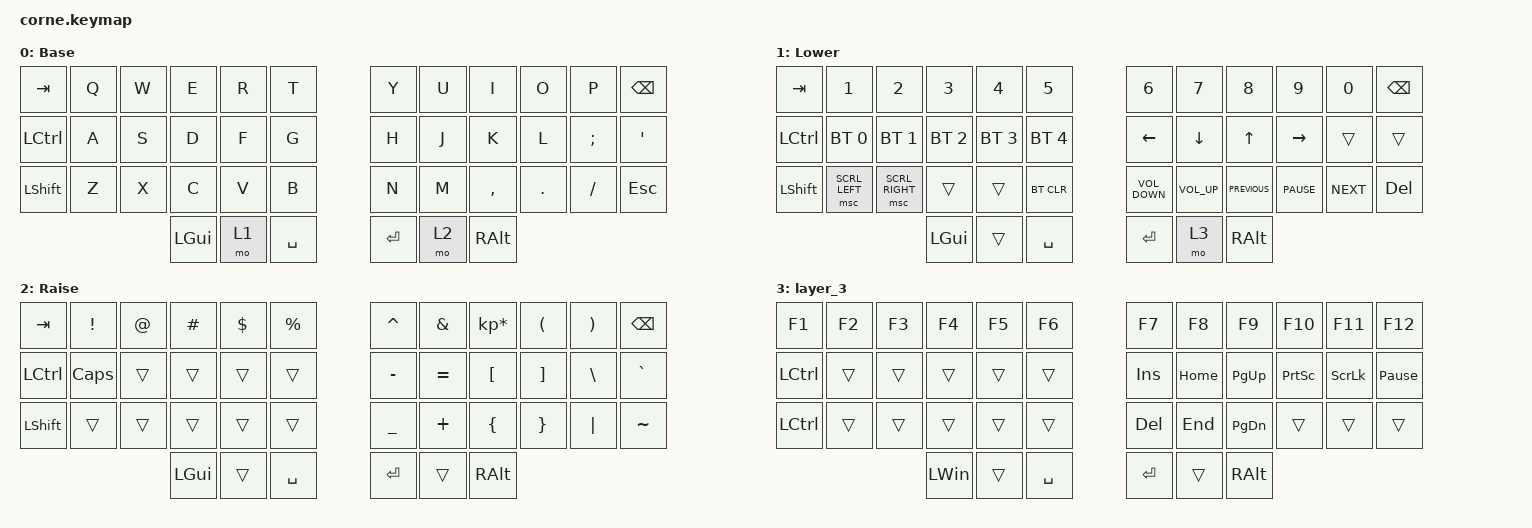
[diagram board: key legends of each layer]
/*
 * Copyright (c) 2020 The ZMK Contributors
 *
 * SPDX-License-Identifier: MIT
 */

#include <behaviors.dtsi>
#include <dt-bindings/zmk/bt.h>
#include <dt-bindings/zmk/keys.h>
#include <dt-bindings/zmk/pointing.h>

/ {
    keymap {
        compatible = "zmk,keymap";

        default_layer {
            // -----------------------------------------------------------------------------------------
            // |  TAB |  Q  |  W  |  E  |  R  |  T  |   |  Y  |  U   |  I  |  O  |  P  | BKSP |
            // | CTRL |  A  |  S  |  D  |  F  |  G  |   |  H  |  J   |  K  |  L  |  ;  |  '   |
            // | SHFT |  Z  |  X  |  C  |  V  |  B  |   |  N  |  M   |  ,  |  .  |  /  | ESC  |
            //                    | GUI | LWR | SPC |   | ENT | RSE  | ALT |

            display-name = "Base";
            bindings = <
&kp TAB    &kp Q  &kp W  &kp E     &kp R  &kp T        &kp Y    &kp U  &kp I      &kp O    &kp P     &kp BSPC
&kp LCTRL  &kp A  &kp S  &kp D     &kp F  &kp G        &kp H    &kp J  &kp K      &kp L    &kp SEMI  &kp SQT
&kp LSHFT  &kp Z  &kp X  &kp C     &kp V  &kp B        &kp N    &kp M  &kp COMMA  &kp DOT  &kp FSLH  &kp ESC
                         &kp LGUI  &mo 1  &kp SPACE    &kp RET  &mo 2  &kp RALT
            >;
        };

        lower_layer {
            // -----------------------------------------------------------------------------------------
            // |  TAB |  1  |  2  |  3  |  4  |  5  |   |  6  |  7  |  8  |  9  |  0  | BKSP |
            // | BTCLR| BT1 | BT2 | BT3 | BT4 | BT5 |   | LFT | DWN |  UP | RGT |     |      |
            // | SHFT |     |     |     |     |     |   |     |     |     |     |     |      |
            //                    | GUI |     | SPC |   | ENT |     | ALT |

            display-name = "Lower";
            bindings = <
&kp TAB    &kp N1          &kp N2           &kp N3        &kp N4        &kp N5          &kp N6             &kp N7           &kp N8          &kp N9       &kp N0      &kp BSPC
&kp LCTRL  &bt BT_SEL 0    &bt BT_SEL 1     &bt BT_SEL 2  &bt BT_SEL 3  &bt BT_SEL 4    &kp LEFT           &kp DOWN         &kp UP          &kp RIGHT    &trans      &trans
&kp LSHFT  &msc SCRL_LEFT  &msc SCRL_RIGHT  &trans        &trans        &bt BT_CLR      &kp C_VOLUME_DOWN  &kp C_VOLUME_UP  &kp C_PREVIOUS  &kp C_PAUSE  &kp C_NEXT  &kp DELETE
                                            &kp LGUI      &trans        &kp SPACE       &kp RET            &mo 3            &kp RALT
            >;
        };

        raise_layer {
            // -----------------------------------------------------------------------------------------
            // |  TAB |  !  |  @  |  #  |  $  |  %  |   |  ^  |  &  |  *  |  (  |  )  | BKSP |
            // | CTRL |     |     |     |     |     |   |  -  |  =  |  [  |  ]  |  \  |  `   |
            // | SHFT |     |     |     |     |     |   |  _  |  +  |  {  |  }  | "|" |  ~   |
            //                    | GUI |     | SPC |   | ENT |     | ALT |

            display-name = "Raise";
            bindings = <
&kp TAB    &kp EXCL  &kp AT  &kp HASH  &kp DLLR  &kp PRCNT    &kp CARET  &kp AMPS   &kp KP_MULTIPLY  &kp LPAR  &kp RPAR  &kp BSPC
&kp LCTRL  &kp CAPS  &trans  &trans    &trans    &trans       &kp MINUS  &kp EQUAL  &kp LBKT         &kp RBKT  &kp BSLH  &kp GRAVE
&kp LSHFT  &trans    &trans  &trans    &trans    &trans       &kp UNDER  &kp PLUS   &kp LBRC         &kp RBRC  &kp PIPE  &kp TILDE
                             &kp LGUI  &trans    &kp SPACE    &kp RET    &trans     &kp RALT
            >;
        };

        layer_3 {
            bindings = <
&kp F1     &kp F2  &kp F3  &kp F4        &kp F5  &kp F6       &kp F7      &kp F8    &kp F9         &kp F10          &kp F11         &kp F12
&kp LCTRL  &trans  &trans  &trans        &trans  &trans       &kp INSERT  &kp HOME  &kp PAGE_UP    &kp PRINTSCREEN  &kp SCROLLLOCK  &kp PAUSE_BREAK
&kp LCTRL  &trans  &trans  &trans        &trans  &trans       &kp DEL     &kp END   &kp PAGE_DOWN  &trans           &trans          &trans
                           &kp LEFT_WIN  &trans  &kp SPACE    &kp ENTER   &trans    &kp RIGHT_ALT
            >;
        };
    };
};
